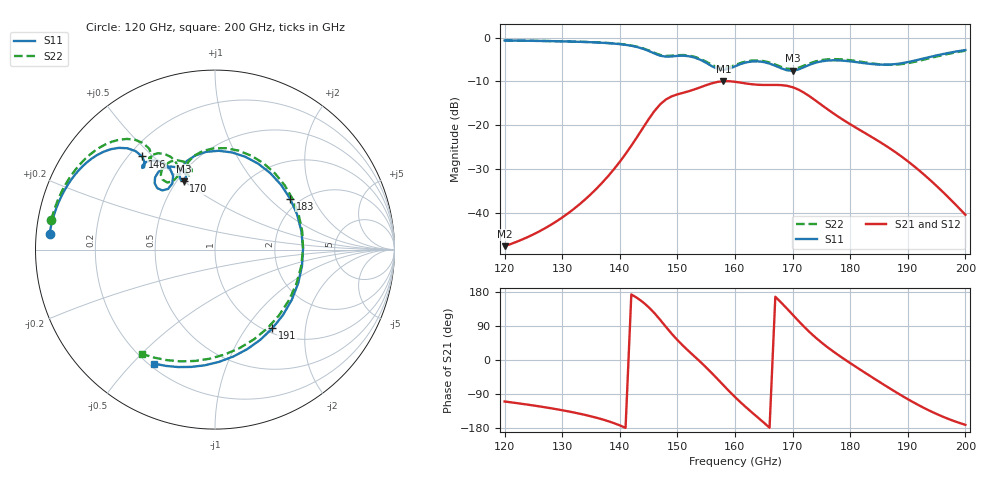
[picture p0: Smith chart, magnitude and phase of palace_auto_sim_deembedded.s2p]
! Created with skrf 1.10.0 (http://scikit-rf.org).
# GHz S DB R 50.0
!freq dBS11 angS11 dBS21 angS21 dBS12 angS12 dBS22 angS22
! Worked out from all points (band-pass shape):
!   81 points, 120 GHz to 200 GHz, reference 50 ohm
!   highest |S21| = -9.94 dB at 158 GHz (marker M1); lowest = -47.5 dB at 120 GHz (marker M2)
!   |S21| within 3 dB of the highest: 150 GHz to 172.4 GHz (22.43 GHz wide, 13.9 % of centre)
!   lowest |S11| = -7.6 dB at 170 GHz (marker M3), VSWR 2.44, Z = 27.1 + j25 ohm
!   |S11| at or under -10 dB: nowhere
!   |S22| runs from -7.2 to -0.7 dB; largest |S21 - S12| = 1.1e-12
!   S11 on the Smith chart (normalised r, x): 120 GHz: 0.04, +0.05; 146 GHz: 0.25, +0.46; 170 GHz: 0.54, +0.50; 183 GHz: 1.78, +1.36; 191 GHz: 1.08, -1.34; 200 GHz: 0.22, -0.58
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120  -0.67 174.5  -47.50 -109.6  -47.50 -109.6  -0.66 169.6
127  -0.79 164.9  -43.43 -124.7  -43.43 -124.7  -0.78 159.8
134  -1.02 153.7  -36.84 -145.0  -36.84 -145.0  -0.99 148.5
142  -1.87 136.1  -24.62 173.0  -24.62 173.0  -1.81 131.1
146  -3.62 128.1  -16.75 123.9  -16.75 123.9  -3.47 123.1
147  -4.13 128.9  -15.21 106.2  -15.21 106.2  -3.96 123.8
150  -4.17 130.9  -12.94 52.7  -12.94 52.7  -4.02 125.5
154  -5.07 120.4  -11.32 -5.1  -11.32 -5.1  -4.86 115.4
156  -6.53 119.7  -10.41 -34.9  -10.41 -34.9  -6.22 114.6
158  -7.38 127.7  -9.94 -66.8  -9.94 -66.8  -7.00 121.9
160  -6.56 133.2  -10.07 -97.7  -10.07 -97.7  -6.26 126.8
163  -5.43 126.2  -10.64 -139.1  -10.64 -139.1  -5.22 120.2
166  -5.93 114.8  -10.79 -178.8  -10.79 -178.8  -5.68 109.5
168  -6.99 111.3  -10.82 151.9  -10.82 151.9  -6.66 106.2
170  -7.57 114.6  -11.31 119.7  -11.31 119.7  -7.18 109.2
174  -5.72 107.7  -14.36 59.1  -14.36 59.1  -5.43 102.6
178  -5.20 80.1  -18.08 12.4  -18.08 12.4  -4.93 76.7
183  -5.92 34.1  -22.08 -37.8  -22.08 -37.8  -5.74 33.0
187  -6.14 -10.7  -25.33 -76.1  -25.33 -76.1  -6.21 -11.2
191  -5.30 -53.9  -29.20 -111.9  -29.20 -111.9  -5.57 -56.3
195  -4.07 -87.9  -33.79 -142.4  -33.79 -142.4  -4.32 -92.7
200  -2.85 -118.2  -40.36 -171.1  -40.36 -171.1  -2.99 -124.9
